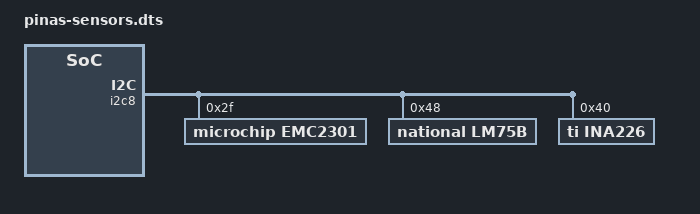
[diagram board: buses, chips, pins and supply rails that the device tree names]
/dts-v1/;
/plugin/;

/ {

	metadata {
		title = "Enable PINAS-SENSORS";
		compatible = "radxa,cm4-rpi-cm4-io", "radxa,cm4-io", "radxa,rock-4d", "radxa,nx4-c200";
		category = "misc";
		exclusive = "I2C8-M1";
		description = "Enable PINAS-SENSORS use I2C8";
	};
	fragment@0 {
		target = <&i2c8>;
		__overlay__ {
			emc2301: emc2301@2f {
				compatible = "microchip,emc2301";
				reg = <0x2f>;
                #address-cells = <1>;
                #size-cells = <0>;
                #cooling-cells = <2>;
                microchip,pwm-separate;
                microchip,cooling-levels = <10>;

                channel@0 {
                    reg = <0>;
                    pwm-min = <0>;
                };
			};
			lm75b: lm75b@48 {
				compatible = "national,lm75b";
				reg = <0x48>;
                #thermal-sensor-cells = <0>;
			};
			ina226@40 {
                compatible = "ti,ina226";
                reg = <0x40>;
                shunt-resistor = <5000>;
            };
		};
	};
	fragment@1 {
		target-path = "/thermal-zones";
		__overlay__ {
			sata_thermal: sata-thermal {
				polling-delay-passive = <1000>;
				polling-delay = <1000>;
				thermal-sensors = <&lm75b>;
				sensor_trips: trips {
					temp_crit: temp-crit {
						temperature = <60000>;
						hysteresis = <0>;
						type = "critical";
					};
					temp_hot: temp-hot {
						temperature = <42000>;
						hysteresis = <3000>;
						type = "active";
					};
					temp_mhot: temp-mhot {
						temperature = <45000>;
						hysteresis = <3000>;
						type = "active";
					};

					temp_vhot: temp-vhot {
						temperature = <50000>;
						hysteresis = <3000>;
						type = "active";
					};
				};

				cooling_maps: cooling-maps {
					hot {
						trip = <&temp_hot>;
						cooling-device = <&emc2301 3 3>;
					};

					mhot {
						trip = <&temp_mhot>;
						cooling-device = <&emc2301 4 4>;
					};
					vhot {
						trip = <&temp_vhot>;
						cooling-device = <&emc2301 5 7>;
					};
					melt {
						trip = <&temp_crit>;
						cooling-device = <&emc2301 0xffffffff 0xffffffff>;
					};
				};
			};
		};
	};
};
